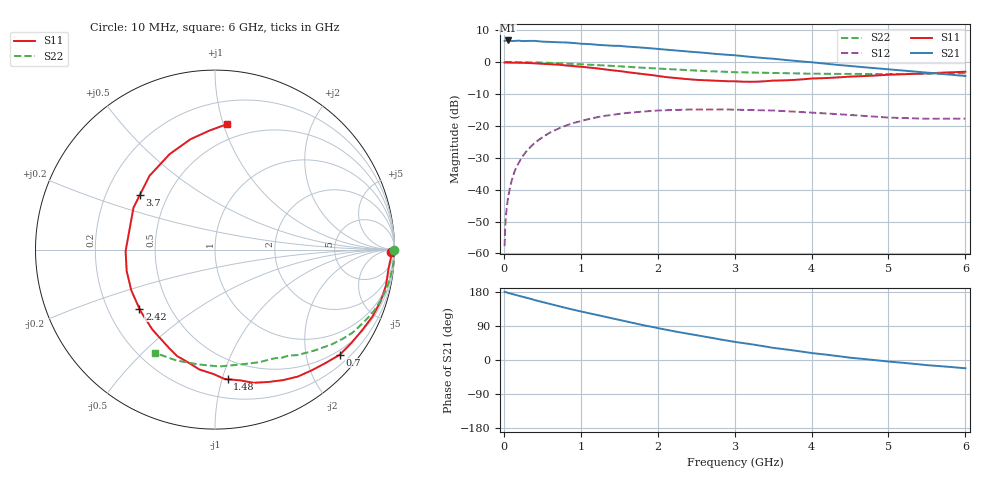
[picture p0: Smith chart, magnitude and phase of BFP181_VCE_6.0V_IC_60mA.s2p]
! Infineon Technologies  Discrete & RF Semiconductors
! BFP181
! VCE = 6.0 V,  IC =  60 mA
! Common Emitter S-Parameters:  Jan 2016
# GHz  S  MA  R  50
!  f  S11  S21  S12  S22
! GHz  MAG  ANG  MAG  ANG  MAG  ANG  MAG  ANG
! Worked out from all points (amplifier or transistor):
!   210 points, 10 MHz to 6 GHz, reference 50 ohm
!   highest |S21| = 6.7 dB at 50 MHz (marker M1)
!   |S21| within 3 dB of that: start of sweep to 2.173 GHz
!   unconditionally stable (mu >= 1): 3.637 GHz to end of sweep
!   at 185 MHz: K = 0.06, MSG = 19.3 dB, |S12| = -32.0 dB
!   at 1.52 GHz: K = 0.46, MSG = 10.6 dB, |S12| = -16.2 dB
!   at 6 GHz: K = 1.39, MAG = 3.0 dB, |S12| = -17.8 dB
!   S11 on the Smith chart (normalised r, x): 10 MHz: 69, -38; 700 MHz: 0.40, -2.70; 1.48 GHz: 0.34, -1.04; 2.42 GHz: 0.34, -0.31; 3.7 GHz: 0.35, +0.29; 6 GHz: 0.37, +1.03
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0.01  0.978 -0.7  2.139 179.7  0.0013 87.4  0.9993 -0.2
0.02  0.9819 -1.2  2.155 179.5  0.0029 86.3  0.9982 -0.5
0.03  0.9814 -1.7  2.16 178.8  0.0042 89.3  0.9979 -0.8
0.05  0.9807 -2.8  2.171 177.3  0.0068 91.9  0.9973 -1.4
0.09  0.9743 -5.2  2.132 175.2  0.0122 86.1  0.998 -2.5
0.14  0.9722 -8.2  2.142 172.5  0.0193 83.7  0.9964 -3.9
0.26  0.9688 -15.0  2.122 166.1  0.0353 79.6  0.9923 -7.2
0.4  0.9534 -23.0  2.139 158.2  0.0537 74.1  0.9847 -11.0
0.7  0.9097 -40.0  2.028 142.8  0.0892 62.3  0.9586 -18.9
0.9  0.8619 -51.3  1.991 132.7  0.11 54.5  0.934 -23.8
1.02  0.839 -58.0  1.927 127.2  0.1203 50.4  0.9185 -26.6
1.48  0.7257 -84.4  1.788 106.3  0.1527 35.7  0.8556 -36.3
1.7  0.6737 -97.4  1.717 96.9  0.1629 29.6  0.8252 -40.5
2.02  0.5986 -116.6  1.592 83.4  0.1741 21.6  0.787 -45.7
2.42  0.5346 -142.0  1.449 68.4  0.1803 12.4  0.7426 -52.4
2.8  0.5064 -166.4  1.322 54.7  0.181 5.1  0.7092 -58.0
3.1  0.4909 175.3  1.237 45.1  0.1774 0.0  0.6865 -62.7
3.7  0.5176 144.0  1.063 27.0  0.1685 -7.8  0.6642 -72.4
4.1  0.5539 128.2  0.961 16.2  0.1585 -11.9  0.6529 -79.9
4.5  0.5894 115.3  0.865 6.1  0.1479 -14.7  0.6516 -88.0
5.1  0.6353 100.4  0.749 -5.8  0.1333 -13.7  0.6461 -100.5
6  0.7028 84.4  0.602 -21.9  0.1292 -7.8  0.6653 -119.9
